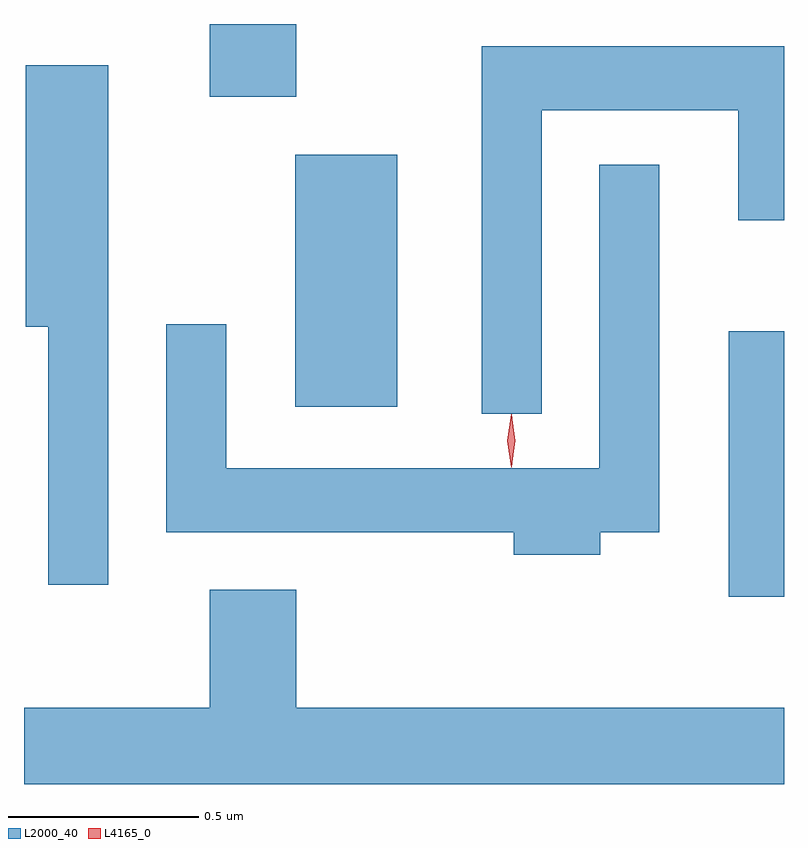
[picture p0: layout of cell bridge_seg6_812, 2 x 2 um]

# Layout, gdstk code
import gdstk
lib = gdstk.Library(unit=1e-6, precision=1e-09)
def R(c, l, rs):  # rectangles x0, y0, x1, y1
    for r in rs: c.add(gdstk.rectangle(r[:2], r[2:], *l))
def P(c, l, *ps):  # polygons
    for p in ps: c.add(gdstk.Polygon(p, *l))
L2000_40 = (2000, 40)
L4165_0 = (4165, 0)

bridge_seg6_812 = lib.new_cell('bridge_seg6_812')
R(bridge_seg6_812, L2000_40, [(437.666,1566.136,437.812,1566.834), (436.526,1566.636,436.794,1567.299), (436.301,1567.451,436.529,1567.643)])
P(bridge_seg6_812, L2000_40, [(437.174,1567.416),(437.691,1567.416),(437.691,1567.126),(437.812,1567.126),(437.812,1567.584),(437.016,1567.584),(437.016,1566.618),(437.174,1566.618)],
  [(436.034,1567.534),(435.816,1567.534),(435.816,1566.846),(435.876,1566.846),(435.876,1566.168),(436.034,1566.168)],
  [(437.329,1566.306),(437.484,1566.306),(437.484,1567.273),(437.326,1567.273),(437.326,1566.474),(436.344,1566.474),(436.344,1566.853),(436.186,1566.853),(436.186,1566.306),(437.101,1566.306),(437.101,1566.246),(437.329,1566.246)],
  [(437.812,1565.844),(436.529,1565.844),(436.529,1566.154),(436.301,1566.154),(436.301,1565.844),(435.812,1565.844),(435.812,1565.643),(437.812,1565.643)])
P(bridge_seg6_812, L4165_0, [(437.095,1566.479),(437.094,1566.48),(437.085,1566.546),(437.094,1566.612),(437.095,1566.613),(437.095,1566.612),(437.105,1566.546),(437.095,1566.48)],
  [(437.094,1566.477),(437.094,1566.477),(437.084,1566.546),(437.094,1566.616),(437.094,1566.616),(437.095,1566.616),(437.104,1566.546),(437.095,1566.477)])

lib.write_gds('bridge_seg6_812.gds')
